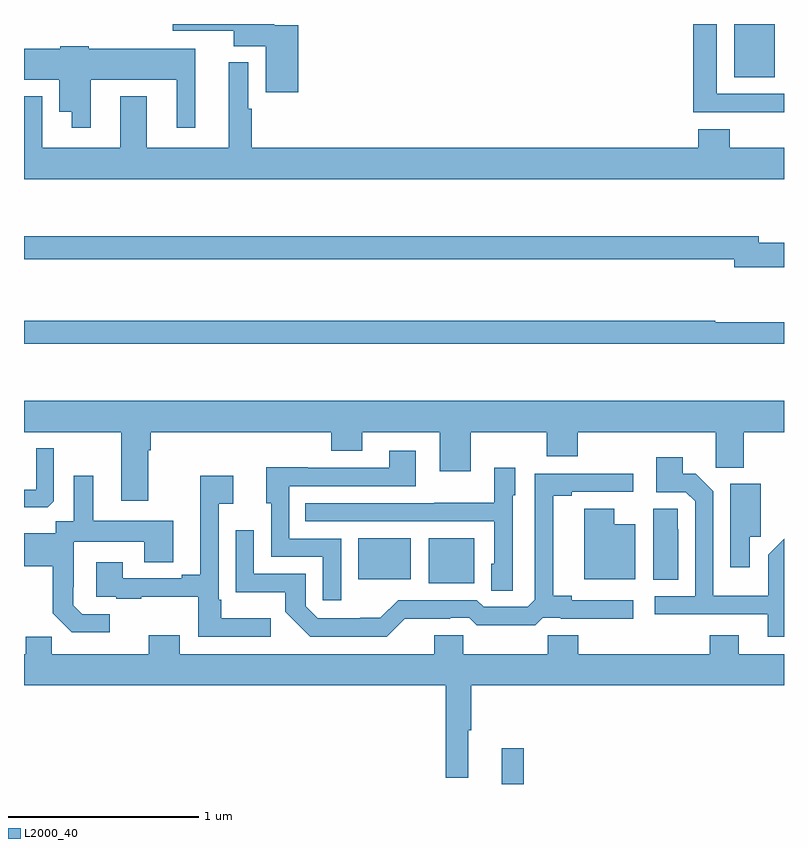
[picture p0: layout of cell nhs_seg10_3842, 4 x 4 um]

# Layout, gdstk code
import gdstk
lib = gdstk.Library(unit=1e-6, precision=1e-09)
def R(c, l, rs):  # rectangles x0, y0, x1, y1
    for r in rs: c.add(gdstk.rectangle(r[:2], r[2:], *l))
def P(c, l, *ps):  # polygons
    for p in ps: c.add(gdstk.Polygon(p, *l))
L2000_40 = (2000, 40)

nhs_seg10_3842 = lib.new_cell('nhs_seg10_3842')
R(nhs_seg10_3842, L2000_40, [(325.514,1262.5,325.631,1262.689), (325.13,1263.557,325.369,1263.793), (324.758,1263.578,325.036,1263.793), (326.738,1266.221,326.95,1266.5)])
P(nhs_seg10_3842, L2000_40, [(324.443,1266.493),(324.318,1266.493),(324.318,1266.5),(323.784,1266.5),(323.784,1266.464),(324.104,1266.464),(324.104,1266.383),(324.272,1266.383),(324.272,1266.141),(324.443,1266.141)],
  [(327,1266.132),(326.647,1266.132),(326.647,1266.5),(326.522,1266.5),(326.522,1266.035),(327,1266.035)],
  [(323.35,1266.206),(323.804,1266.206),(323.804,1265.955),(323.902,1265.955),(323.902,1266.37),(323.34,1266.37),(323.34,1266.382),(323.19,1266.382),(323.19,1266.37),(323,1266.37),(323,1266.206),(323.186,1266.206),(323.186,1266.038),(323.252,1266.038),(323.252,1265.955),(323.35,1265.955)],
  [(327,1265.848),(326.714,1265.848),(326.714,1265.947),(326.549,1265.947),(326.549,1265.848),(324.199,1265.848),(324.199,1266.053),(324.181,1266.053),(324.181,1266.298),(324.077,1266.298),(324.077,1265.848),(323.647,1265.848),(323.647,1266.121),(323.507,1266.121),(323.507,1265.848),(323.095,1265.848),(323.095,1266.121),(323,1266.121),(323,1265.684),(327,1265.684)],
  [(327,1265.349),(326.866,1265.349),(326.866,1265.383),(323,1265.383),(323,1265.262),(326.738,1265.262),(326.738,1265.219),(327,1265.219)],
  [(327,1264.931),(326.638,1264.931),(326.638,1264.939),(323,1264.939),(323,1264.818),(327,1264.818)],
  [(323,1264.352),(323.513,1264.352),(323.513,1263.99),(323.653,1263.99),(323.653,1264.256),(323.666,1264.256),(323.666,1264.352),(324.617,1264.352),(324.617,1264.253),(324.781,1264.253),(324.781,1264.352),(325.187,1264.352),(325.187,1264.146),(325.351,1264.146),(325.351,1264.352),(325.751,1264.352),(325.751,1264.224),(325.915,1264.224),(325.915,1264.352),(326.64,1264.352),(326.64,1264.165),(326.787,1264.165),(326.787,1264.352),(327,1264.352),(327,1264.516),(323,1264.516)],
  [(323.157,1263.987),(323.157,1264.267),(323.064,1264.267),(323.064,1264.05),(323,1264.05),(323,1263.956),(323.125,1263.956)],
  [(324.669,1263.792),(324.396,1263.792),(324.396,1264.068),(325.063,1264.068),(325.063,1264.255),(324.923,1264.255),(324.923,1264.164),(324.493,1264.164),(324.493,1264.166),(324.275,1264.166),(324.275,1263.978),(324.3,1263.978),(324.3,1263.696),(324.573,1263.696),(324.573,1263.468),(324.669,1263.468)],
  [(327,1263.79),(326.916,1263.706),(326.916,1263.49),(326.628,1263.49),(326.628,1264.041),(326.535,1264.134),(326.467,1264.134),(326.467,1264.219),(326.327,1264.219),(326.327,1264.035),(326.484,1264.035),(326.532,1263.987),(326.532,1263.489),(326.319,1263.489),(326.319,1263.393),(326.915,1263.393),(326.915,1263.275),(327,1263.275)],
  [(325.572,1264.02),(325.585,1264.02),(325.585,1264.165),(325.476,1264.165),(325.476,1263.979),(325.159,1263.979),(325.159,1263.978),(324.481,1263.978),(324.481,1263.882),(325.476,1263.882),(325.476,1263.66),(325.46,1263.66),(325.46,1263.517),(325.572,1263.517)],
  [(325.004,1263.371),(325.244,1263.371),(325.244,1263.375),(325.344,1263.375),(325.384,1263.336),(325.691,1263.336),(325.731,1263.375),(325.825,1263.375),(325.825,1263.371),(326.206,1263.371),(326.206,1263.468),(325.882,1263.468),(325.882,1263.491),(325.786,1263.491),(325.786,1264.018),(325.882,1264.018),(325.882,1264.038),(326.206,1264.038),(326.206,1264.134),(325.689,1264.134),(325.689,1263.471),(325.65,1263.432),(325.419,1263.432),(325.383,1263.468),(324.969,1263.468),(324.875,1263.374),(324.77,1263.374),(324.77,1263.372),(324.546,1263.372),(324.483,1263.435),(324.483,1263.606),(324.21,1263.606),(324.21,1263.835),(324.114,1263.835),(324.114,1263.509),(324.376,1263.509),(324.376,1263.407),(324.506,1263.276),(324.909,1263.276)],
  [(324.298,1263.373),(324.037,1263.373),(324.037,1263.469),(324.024,1263.469),(324.024,1263.974),(324.1,1263.974),(324.1,1264.123),(323.927,1264.123),(323.927,1263.601),(323.831,1263.601),(323.831,1263.582),(323.521,1263.582),(323.521,1263.667),(323.381,1263.667),(323.381,1263.486),(323.485,1263.486),(323.485,1263.474),(323.617,1263.474),(323.617,1263.485),(323.916,1263.485),(323.916,1263.276),(324.298,1263.276)],
  [(323.452,1263.393),(323.307,1263.393),(323.26,1263.44),(323.26,1263.535),(323.262,1263.535),(323.262,1263.776),(323.633,1263.776),(323.633,1263.667),(323.785,1263.667),(323.785,1263.886),(323.365,1263.886),(323.365,1264.123),(323.261,1264.123),(323.261,1263.884),(323.166,1263.884),(323.166,1263.82),(323,1263.82),(323,1263.645),(323.151,1263.645),(323.151,1263.399),(323.251,1263.299),(323.452,1263.299)],
  [(326.821,1263.801),(326.878,1263.801),(326.878,1264.08),(326.717,1264.08),(326.717,1263.642),(326.821,1263.642)],
  [(326.443,1263.842),(326.442,1263.842),(326.442,1263.95),(326.312,1263.95),(326.312,1263.574),(326.443,1263.574)],
  [(326.218,1263.868),(326.107,1263.868),(326.107,1263.949),(325.949,1263.949),(325.949,1263.578),(326.218,1263.578)],
  [(323.657,1263.283),(323.657,1263.184),(323.147,1263.184),(323.147,1263.275),(323.009,1263.275),(323.009,1263.184),(323,1263.184),(323,1263.02),(325.219,1263.02),(325.219,1262.532),(325.337,1262.532),(325.337,1262.784),(325.355,1262.784),(325.355,1263.02),(327,1263.02),(327,1263.184),(326.761,1263.184),(326.761,1263.283),(326.609,1263.283),(326.609,1263.184),(325.916,1263.184),(325.916,1263.282),(325.756,1263.282),(325.756,1263.184),(325.311,1263.184),(325.311,1263.282),(325.16,1263.282),(325.16,1263.184),(323.821,1263.184),(323.821,1263.283)])

lib.write_gds('nhs_seg10_3842.gds')
